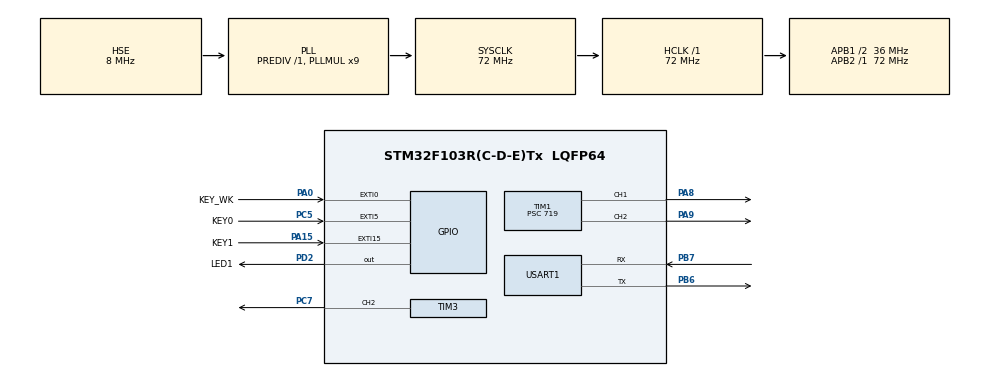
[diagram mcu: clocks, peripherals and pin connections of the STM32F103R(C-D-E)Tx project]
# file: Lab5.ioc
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Mcu.Family=STM32F1
Mcu.Name=STM32F103R(C-D-E)Tx
Mcu.Package=LQFP64
NVIC.EXTI0_IRQn=true\:1\:0\:true\:false\:true\:true\:true
NVIC.EXTI15_10_IRQn=true\:1\:2\:true\:false\:true\:true\:true
NVIC.EXTI9_5_IRQn=true\:1\:1\:true\:false\:true\:true\:true
NVIC.PriorityGroup=NVIC_PRIORITYGROUP_2
NVIC.TIM1_CC_IRQn=true\:0\:0\:false\:false\:true\:true\:true
NVIC.TIM1_TRG_COM_IRQn=true\:0\:0\:false\:false\:true\:true\:true
NVIC.TIM1_UP_IRQn=true\:0\:0\:false\:false\:true\:true\:true
NVIC.TIM3_IRQn=true\:0\:0\:false\:false\:true\:true\:true
NVIC.USART1_IRQn=true\:0\:1\:true\:false\:true\:true\:true
PA0-WKUP.GPIO_Label=KEY_WK
PA0-WKUP.GPIO_PuPd=GPIO_PULLDOWN
PA0-WKUP.Signal=GPXTI0
PA13.Mode=Serial_Wire
PA13.Signal=SYS_JTMS-SWDIO
PA14.Mode=Serial_Wire
PA14.Signal=SYS_JTCK-SWCLK
PA15.GPIO_Label=KEY1
PA15.GPIO_ModeDefaultEXTI=GPIO_MODE_IT_FALLING
PA15.GPIO_PuPd=GPIO_PULLUP
PA15.Signal=GPXTI15
PA8.Signal=S_TIM1_CH1
PA9.Signal=S_TIM1_CH2
PB6.Mode=Asynchronous
PB6.Signal=USART1_TX
PB7.Mode=Asynchronous
PB7.Signal=USART1_RX
PC5.GPIO_Label=KEY0
PC5.GPIO_ModeDefaultEXTI=GPIO_MODE_IT_FALLING
PC5.GPIO_PuPd=GPIO_PULLUP
PC5.Signal=GPXTI5
PC7.Signal=S_TIM3_CH2
PD0-OSC_IN.Mode=HSE-External-Oscillator
PD0-OSC_IN.Signal=RCC_OSC_IN
PD1-OSC_OUT.Mode=HSE-External-Oscillator
PD1-OSC_OUT.Signal=RCC_OSC_OUT
PD2.GPIO_Label=LED1
PD2.Signal=GPIO_Output
ProjectManager.HeapSize=0x200
ProjectManager.StackSize=0x400
ProjectManager.TargetToolchain=STM32CubeIDE
RCC.AHBFreq_Value=72000000
RCC.APB1CLKDivider=RCC_HCLK_DIV2
RCC.APB1Freq_Value=36000000
RCC.APB1TimFreq_Value=72000000
RCC.APB2Freq_Value=72000000
RCC.APB2TimFreq_Value=72000000
RCC.HCLKFreq_Value=72000000
RCC.PLLMUL=RCC_PLL_MUL9
RCC.PLLSourceVirtual=RCC_PLLSOURCE_HSE
RCC.SYSCLKFreq_VALUE=72000000
RCC.SYSCLKSource=RCC_SYSCLKSOURCE_PLLCLK
RCC.USBFreq_Value=72000000
SH.S_TIM1_CH1.0=TIM1_CH1,PWM Generation1 CH1
SH.S_TIM1_CH2.0=TIM1_CH2,Output Compare2 CH2
SH.S_TIM3_CH2.0=TIM3_CH2,PWM Generation2 CH2
TIM1.Channel-Output\ Compare2\ CH2=TIM_CHANNEL_2
TIM1.Channel-PWM\ Generation1\ CH1=TIM_CHANNEL_1
TIM1.OCPolarity_1=TIM_OCPOLARITY_LOW
TIM1.Period=499
TIM1.Prescaler=719
TIM1.Pulse-Output\ Compare2\ CH2=1999
TIM3.Channel-PWM\ Generation2\ CH2=TIM_CHANNEL_2
TIM3.OCPolarity_2=TIM_OCPOLARITY_LOW
TIM3.Period=19999
TIM3.Prescaler=7199
USART1.VirtualMode=VM_ASYNC
VP_TIM1_VS_ClockSourceINT.Mode=Internal
VP_TIM3_VS_ClockSourceINT.Mode=Internal
board=custom

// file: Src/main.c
/* USER CODE BEGIN Header */
/**
  ******************************************************************************
  * @file           : main.c
  * @brief          : Main program body
  ******************************************************************************
  * @attention
  *
  * <h2><center>&copy; Copyright (c) 2019 STMicroelectronics.
  * All rights reserved.</center></h2>
  *
  * This software component is licensed by ST under BSD 3-Clause license,
  * the "License"; You may not use this file except in compliance with the
  * License. You may obtain a copy of the License at:
  *                        opensource.org/licenses/BSD-3-Clause
  *
  ******************************************************************************
  */
/* USER CODE END Header */

#include "main.h"
#include "tim.h"
#include "usart.h"
#include "gpio.h"

/* USER CODE BEGIN Includes */
#include "string.h"
#include "stdio.h"
/* USER CODE END Includes */

/* USER CODE BEGIN PTD */
HAL_StatusTypeDef HAL_UART_Receive_IT(UART_HandleTypeDef *huart, uint8_t *pData,
uint16_t Size);
/* USER CODE END PTD */

/* USER CODE BEGIN PV */
uint8_t rxBuffer[20];
extern UART_HandleTypeDef huart1;
extern TIM_HandleTypeDef htim1;
 char textForIRQ[] = "interrupt";
 uint16_t dutyCycle = 0;
uint32_t ccc = 1;
/* USER CODE END PV */

void SystemClock_Config(void);
/* USER CODE BEGIN PFP */
//void BlinkLed0();
//void BlinkLed1();

/* USER CODE END PFP */

/* USER CODE BEGIN 0 */
//int fputc(int c, FILE *stream)    //重写fputc函数
//{
//    HAL_UART_Transmit(&huart1, (unsigned char *)&c, 1, 1000);
//    return 1;
//}
/* USER CODE END 0 */

int main(void)
{

  /* MCU Configuration--------------------------------------------------------*/

  /* Reset of all peripherals, Initializes the Flash interface and the Systick. */
  HAL_Init();

  /* Configure the system clock */
  SystemClock_Config();

  /* Initialize all configured peripherals */
  MX_GPIO_Init();
  MX_USART1_UART_Init();
  MX_TIM1_Init();
  MX_TIM3_Init();
  /* USER CODE BEGIN 2 */
//  HAL_UART_Receive_IT(&huart1, (uint8_t *)rxBuffer, 1);
//  HAL_TIM_Base_Start_IT(&htim3);
  HAL_TIM_Base_Start_IT(&htim1);
  HAL_TIM_PWM_Start(&htim1,TIM_CHANNEL_1);
  HAL_TIM_OC_Start_IT  ( &htim1,  TIM_CHANNEL_2);

//  TIM1->CCR1 = 0xFFF;
  /* USER CODE END 2 */

  /* Infinite loop */
  /* USER CODE BEGIN WHILE */
  while (1)
  {
//	  while (dutyCycle < 1000)
//	  {
//		  TIM1->CCR1 = 1000;
		  HAL_Delay(500);
		  printf("Hello\r\n");

//	  }
//	  while (dutyCycle>0)
//	  {
//		  TIM1->CCR2 = --dutyCycle;
//		  HAL_Delay(1);
//	  }
//	  HAL_Delay(200);
    /* USER CODE END WHILE */

  }
}

void SystemClock_Config(void)
{
  RCC_OscInitTypeDef RCC_OscInitStruct = {0};
  RCC_ClkInitTypeDef RCC_ClkInitStruct = {0};

  /** Initializes the CPU, AHB and APB busses clocks
  */
  RCC_OscInitStruct.OscillatorType = RCC_OSCILLATORTYPE_HSE;
  RCC_OscInitStruct.HSEState = RCC_HSE_ON;
  RCC_OscInitStruct.HSEPredivValue = RCC_HSE_PREDIV_DIV1;
  RCC_OscInitStruct.HSIState = RCC_HSI_ON;
  RCC_OscInitStruct.PLL.PLLState = RCC_PLL_ON;
  RCC_OscInitStruct.PLL.PLLSource = RCC_PLLSOURCE_HSE;
  RCC_OscInitStruct.PLL.PLLMUL = RCC_PLL_MUL9;
  if (HAL_RCC_OscConfig(&RCC_OscInitStruct) != HAL_OK)
  {
    Error_Handler();
  }
  /** Initializes the CPU, AHB and APB busses clocks
  */
  RCC_ClkInitStruct.ClockType = RCC_CLOCKTYPE_HCLK|RCC_CLOCKTYPE_SYSCLK
                              |RCC_CLOCKTYPE_PCLK1|RCC_CLOCKTYPE_PCLK2;
  RCC_ClkInitStruct.SYSCLKSource = RCC_SYSCLKSOURCE_PLLCLK;
  RCC_ClkInitStruct.AHBCLKDivider = RCC_SYSCLK_DIV1;
  RCC_ClkInitStruct.APB1CLKDivider = RCC_HCLK_DIV2;
  RCC_ClkInitStruct.APB2CLKDivider = RCC_HCLK_DIV1;

  if (HAL_RCC_ClockConfig(&RCC_ClkInitStruct, FLASH_LATENCY_2) != HAL_OK)
  {
    Error_Handler();
  }
}

/* USER CODE BEGIN 4 */
void HAL_GPIO_EXTI_Callback(uint16_t GPIO_Pin)
{
//	 HAL_Delay(100);
//	 switch (GPIO_Pin) {
//	 case KEY0_Pin:
//		 HAL_Delay(10);
//		 if (HAL_GPIO_ReadPin(KEY0_GPIO_Port, KEY0_Pin) == GPIO_PIN_RESET) {
//			 HAL_UART_Transmit(&huart1, key0Pressed, 16, 0xffff);
//			 BlinkLed0();
//		 }
//		 break;
//	 case KEY1_Pin:
//		 HAL_Delay(10);
//		 if (HAL_GPIO_ReadPin(KEY1_GPIO_Port, KEY1_Pin) == GPIO_PIN_RESET) {
//			 HAL_UART_Transmit(&huart1, key1Pressed, 16, 0xffff);
//			 BlinkLed1();
//		 }
//		 break;
//	 case KEY_WK_Pin:
//		 HAL_Delay(10);
//		 if (HAL_GPIO_ReadPin(KEY_WK_GPIO_Port, KEY_WK_Pin) == GPIO_PIN_SET) {
//			 HAL_GPIO_TogglePin(LED0_GPIO_Port, LED0_Pin);
//			 HAL_GPIO_TogglePin(LED1_GPIO_Port, LED1_Pin);
//		 }
//		 break;
//	 default:
//		 break;
//
//	 }
}

void HAL_TIM_PeriodElapsedCallback(TIM_HandleTypeDef *htim)
{
//	if(htim->Instance==TIM3)
//	{
//		rising = -rising;
//		HAL_GPIO_TogglePin(LED1_GPIO_Port, LED1_Pin);
//	}

}

void HAL_TIM_OC_DelayElapsedCallback(TIM_HandleTypeDef *htim){
	if(htim->Instance==TIM1)
		{
			dutyCycle+=ccc;
			TIM1->CCR1=dutyCycle;
			if(dutyCycle==300){
				dutyCycle = 300;
				ccc = -1;
			}
			else if(dutyCycle<1){
				dutyCycle = 0;
				ccc = 1;
			}
		}

}

void HAL_UART_RxCpltCallback(UART_HandleTypeDef *huart)
{

}

/* USER CODE END 4 */

void Error_Handler(void)
{
}

/************************ (C) COPYRIGHT STMicroelectronics *****END OF FILE****/
